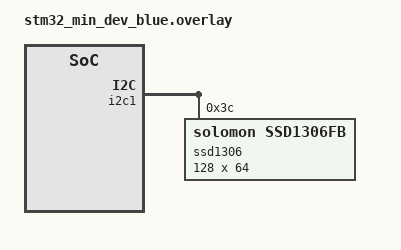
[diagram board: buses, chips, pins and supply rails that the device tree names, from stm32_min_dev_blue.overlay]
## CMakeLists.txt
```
cmake_minimum_required(VERSION 3.20.0)

find_package(Zephyr REQUIRED HINTS $ENV{ZEPHYR_BASE})
project(plant-monitor)

FILE(GLOB app_sources src/*.c)
target_sources(app PRIVATE ${app_sources})
zephyr_library_include_directories(/src/include)
```

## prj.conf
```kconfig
CONFIG_DISPLAY=y
CONFIG_SSD1306=y
CONFIG_I2C=y
CONFIG_CHARACTER_FRAMEBUFFER=y
CONFIG_HEAP_MEM_POOL_SIZE=4096
```

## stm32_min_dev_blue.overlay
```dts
&i2c1 {
	status = "okay";
	ssd1306: ssd1306@3c {
		compatible = "solomon,ssd1306fb";
		reg = <0x3c>;
		height = <64>;
		width = <128>;
	    segment-offset = <0>;
		page-offset = <0>;
		display-offset = <0>;
		multiplex-ratio = <63>;
		prechargep = <0x22>;
		com-invdir; 
		segment-remap;
	};
};
```

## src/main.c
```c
#include <zephyr/kernel.h>
#include <zephyr/device.h>
#include <zephyr/display/cfb.h>
#include "include/main.h"



void main(void){

    if(display == NULL){
        return;
    }

    if(!device_is_ready(display)){
        return;
    }

    display_set_pixel_format(display, PIXEL_FORMAT_MONO10);
    cfb_framebuffer_init(display);
    cfb_print(display, "UMIDADE", 0, 0);
    cfb_print(display, "50%", 0, 30);
    cfb_framebuffer_finalize(display);

}
```
